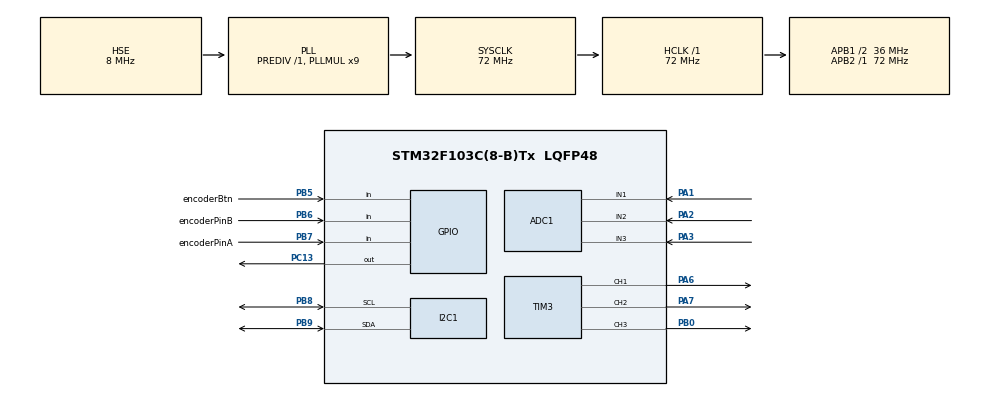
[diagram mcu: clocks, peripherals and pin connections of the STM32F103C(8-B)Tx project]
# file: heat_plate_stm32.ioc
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ADC1.Channel-0\#ChannelRegularConversion=ADC_CHANNEL_1
ADC1.ContinuousConvMode=ENABLE
ADC1.NbrOfConversion=1
ADC1.NbrOfConversionFlag=1
ADC1.Rank-0\#ChannelRegularConversion=1
ADC1.SamplingTime-0\#ChannelRegularConversion=ADC_SAMPLETIME_1CYCLE_5
ADC1.master=1
Mcu.Family=STM32F1
Mcu.Name=STM32F103C(8-B)Tx
Mcu.Package=LQFP48
NVIC.PriorityGroup=NVIC_PRIORITYGROUP_4
NVIC.TIM2_IRQn=true\:0\:0\:false\:false\:true\:true\:true\:true
PA1.Signal=ADCx_IN1
PA2.Signal=ADCx_IN2
PA3.Signal=ADCx_IN3
PA6.Signal=S_TIM3_CH1
PA7.Signal=S_TIM3_CH2
PB0.Signal=S_TIM3_CH3
PB5.GPIO_Label=encoderBtn
PB5.Signal=GPIO_Input
PB6.GPIO_Label=encoderPinB
PB6.Signal=GPIO_Input
PB7.GPIO_Label=encoderPinA
PB7.Signal=GPIO_Input
PB8.Mode=I2C
PB8.Signal=I2C1_SCL
PB9.Mode=I2C
PB9.Signal=I2C1_SDA
PC13-TAMPER-RTC.Signal=GPIO_Output
PD0-OSC_IN.Mode=HSE-External-Oscillator
PD0-OSC_IN.Signal=RCC_OSC_IN
PD1-OSC_OUT.Mode=HSE-External-Oscillator
PD1-OSC_OUT.Signal=RCC_OSC_OUT
ProjectManager.HeapSize=0x200
ProjectManager.StackSize=0x400
ProjectManager.TargetToolchain=STM32CubeIDE
RCC.ADCPresc=RCC_ADCPCLK2_DIV6
RCC.AHBFreq_Value=72000000
RCC.APB1CLKDivider=RCC_HCLK_DIV2
RCC.APB1Freq_Value=36000000
RCC.APB1TimFreq_Value=72000000
RCC.APB2Freq_Value=72000000
RCC.APB2TimFreq_Value=72000000
RCC.HCLKFreq_Value=72000000
RCC.PLLMUL=RCC_PLL_MUL9
RCC.PLLSourceVirtual=RCC_PLLSOURCE_HSE
RCC.SYSCLKFreq_VALUE=72000000
RCC.SYSCLKSource=RCC_SYSCLKSOURCE_PLLCLK
RCC.USBFreq_Value=72000000
SH.ADCx_IN1.0=ADC1_IN1,IN1
SH.ADCx_IN2.0=ADC1_IN2,IN2
SH.ADCx_IN3.0=ADC1_IN3,IN3
SH.S_TIM3_CH1.0=TIM3_CH1,PWM Generation1 CH1
SH.S_TIM3_CH2.0=TIM3_CH2,PWM Generation2 CH2
SH.S_TIM3_CH3.0=TIM3_CH3,PWM Generation3 CH3
TIM2.Period=3000
TIM2.Prescaler=24-1
TIM3.Channel-PWM\ Generation1\ CH1=TIM_CHANNEL_1
TIM3.Channel-PWM\ Generation2\ CH2=TIM_CHANNEL_2
TIM3.Channel-PWM\ Generation3\ CH3=TIM_CHANNEL_3
VP_SYS_VS_ND.Mode=No_Debug
VP_TIM2_VS_ClockSourceINT.Mode=Internal
board=custom

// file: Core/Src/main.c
/* USER CODE BEGIN Header */
/**
 ******************************************************************************
 * @file           : main.c
 * @brief          : Main program body
 ******************************************************************************
 * @attention
 *
 * Copyright (c) 2024 STMicroelectronics.
 * All rights reserved.
 *
 * This software is licensed under terms that can be found in the LICENSE file
 * in the root directory of this software component.
 * If no LICENSE file comes with this software, it is provided AS-IS.
 *
 ******************************************************************************
 */
/* USER CODE END Header */
#include "main.h"

/* USER CODE BEGIN Includes */
//#include "Button.h"
#include "meun.h"
#include "heater.h"
//#include "stm32f1xx_hal.h"
/* USER CODE END Includes */

/* USER CODE BEGIN PD */
uint16_t counter = 0;
void HAL_TIM_PeriodElapsedCallback(TIM_HandleTypeDef *htim);
/* USER CODE END PD */

ADC_HandleTypeDef hadc1;

I2C_HandleTypeDef hi2c1;

TIM_HandleTypeDef htim2;
TIM_HandleTypeDef htim3;

/* USER CODE BEGIN PV */
MEUN_TypeDef UserMeun;

/* USER CODE END PV */

void SystemClock_Config(void);
static void MX_GPIO_Init(void);
static void MX_ADC1_Init(void);
static void MX_I2C1_Init(void);
static void MX_TIM2_Init(void);
static void MX_TIM3_Init(void);

int main(void)
{

  /* MCU Configuration--------------------------------------------------------*/

  /* Reset of all peripherals, Initializes the Flash interface and the Systick. */
  HAL_Init();

  /* USER CODE BEGIN Init */
	HAL_TIM_Base_Start_IT(&htim2);
	heaterInit();
	meunInit(&UserMeun);
  /* USER CODE END Init */

  /* Configure the system clock */
  SystemClock_Config();

  /* Initialize all configured peripherals */
  MX_GPIO_Init();
  MX_ADC1_Init();
  MX_I2C1_Init();
  MX_TIM2_Init();
  MX_TIM3_Init();
  /* USER CODE BEGIN 2 */
	startScreeen();
//	PID(&TPID, &currentTemp, &PIDOut, &TempSetpoint, 2, 5, 1, _PID_P_ON_E, _PID_CD_DIRECT);
//	PID_SetMode(&TPID, _PID_MODE_AUTOMATIC);
//	PID_SetSampleTime(&TPID, 500);
//	PID_SetOutputLimits(&TPID, -100, 100);
  /* USER CODE END 2 */

  /* Infinite loop */
	while (1) {

    /* USER CODE BEGIN 3 */

		if (counter % 100 == 1) {
			displayMeunHandler(&UserMeun);
		}
		if (counter % 10 == 1) {
			if (UserMeun.meunIndex == 0) {
				UserMeun.meunUpdateState = 0;
				heating();
			}
//		(meunIndex)? heating() : return();
		}
	}

  /* USER CODE END 3 */
}

void SystemClock_Config(void)
{
  RCC_OscInitTypeDef RCC_OscInitStruct = {0};
  RCC_ClkInitTypeDef RCC_ClkInitStruct = {0};
  RCC_PeriphCLKInitTypeDef PeriphClkInit = {0};

  /** Initializes the RCC Oscillators according to the specified parameters
  * in the RCC_OscInitTypeDef structure.
  */
  RCC_OscInitStruct.OscillatorType = RCC_OSCILLATORTYPE_HSE;
  RCC_OscInitStruct.HSEState = RCC_HSE_ON;
  RCC_OscInitStruct.HSEPredivValue = RCC_HSE_PREDIV_DIV1;
  RCC_OscInitStruct.HSIState = RCC_HSI_ON;
  RCC_OscInitStruct.PLL.PLLState = RCC_PLL_ON;
  RCC_OscInitStruct.PLL.PLLSource = RCC_PLLSOURCE_HSE;
  RCC_OscInitStruct.PLL.PLLMUL = RCC_PLL_MUL9;
  if (HAL_RCC_OscConfig(&RCC_OscInitStruct) != HAL_OK)
  {
    Error_Handler();
  }

  /** Initializes the CPU, AHB and APB buses clocks
  */
  RCC_ClkInitStruct.ClockType = RCC_CLOCKTYPE_HCLK|RCC_CLOCKTYPE_SYSCLK
                              |RCC_CLOCKTYPE_PCLK1|RCC_CLOCKTYPE_PCLK2;
  RCC_ClkInitStruct.SYSCLKSource = RCC_SYSCLKSOURCE_PLLCLK;
  RCC_ClkInitStruct.AHBCLKDivider = RCC_SYSCLK_DIV1;
  RCC_ClkInitStruct.APB1CLKDivider = RCC_HCLK_DIV2;
  RCC_ClkInitStruct.APB2CLKDivider = RCC_HCLK_DIV1;

  if (HAL_RCC_ClockConfig(&RCC_ClkInitStruct, FLASH_LATENCY_2) != HAL_OK)
  {
    Error_Handler();
  }
  PeriphClkInit.PeriphClockSelection = RCC_PERIPHCLK_ADC;
  PeriphClkInit.AdcClockSelection = RCC_ADCPCLK2_DIV6;
  if (HAL_RCCEx_PeriphCLKConfig(&PeriphClkInit) != HAL_OK)
  {
    Error_Handler();
  }
}

static void MX_ADC1_Init(void)
{

  ADC_ChannelConfTypeDef sConfig = {0};

  /** Common config
  */
  hadc1.Instance = ADC1;
  hadc1.Init.ScanConvMode = ADC_SCAN_DISABLE;
  hadc1.Init.ContinuousConvMode = ENABLE;
  hadc1.Init.DiscontinuousConvMode = DISABLE;
  hadc1.Init.ExternalTrigConv = ADC_SOFTWARE_START;
  hadc1.Init.DataAlign = ADC_DATAALIGN_RIGHT;
  hadc1.Init.NbrOfConversion = 1;
  if (HAL_ADC_Init(&hadc1) != HAL_OK)
  {
    Error_Handler();
  }

  /** Configure Regular Channel
  */
  sConfig.Channel = ADC_CHANNEL_1;
  sConfig.Rank = ADC_REGULAR_RANK_1;
  sConfig.SamplingTime = ADC_SAMPLETIME_1CYCLE_5;
  if (HAL_ADC_ConfigChannel(&hadc1, &sConfig) != HAL_OK)
  {
    Error_Handler();
  }

}

static void MX_I2C1_Init(void)
{

  hi2c1.Instance = I2C1;
  hi2c1.Init.ClockSpeed = 100000;
  hi2c1.Init.DutyCycle = I2C_DUTYCYCLE_2;
  hi2c1.Init.OwnAddress1 = 0;
  hi2c1.Init.AddressingMode = I2C_ADDRESSINGMODE_7BIT;
  hi2c1.Init.DualAddressMode = I2C_DUALADDRESS_DISABLE;
  hi2c1.Init.OwnAddress2 = 0;
  hi2c1.Init.GeneralCallMode = I2C_GENERALCALL_DISABLE;
  hi2c1.Init.NoStretchMode = I2C_NOSTRETCH_DISABLE;
  if (HAL_I2C_Init(&hi2c1) != HAL_OK)
  {
    Error_Handler();
  }

}

static void MX_TIM2_Init(void)
{

  TIM_ClockConfigTypeDef sClockSourceConfig = {0};
  TIM_MasterConfigTypeDef sMasterConfig = {0};

  htim2.Instance = TIM2;
  htim2.Init.Prescaler = 24-1;
  htim2.Init.CounterMode = TIM_COUNTERMODE_UP;
  htim2.Init.Period = 3000;
  htim2.Init.ClockDivision = TIM_CLOCKDIVISION_DIV1;
  htim2.Init.AutoReloadPreload = TIM_AUTORELOAD_PRELOAD_DISABLE;
  if (HAL_TIM_Base_Init(&htim2) != HAL_OK)
  {
    Error_Handler();
  }
  sClockSourceConfig.ClockSource = TIM_CLOCKSOURCE_INTERNAL;
  if (HAL_TIM_ConfigClockSource(&htim2, &sClockSourceConfig) != HAL_OK)
  {
    Error_Handler();
  }
  sMasterConfig.MasterOutputTrigger = TIM_TRGO_RESET;
  sMasterConfig.MasterSlaveMode = TIM_MASTERSLAVEMODE_DISABLE;
  if (HAL_TIMEx_MasterConfigSynchronization(&htim2, &sMasterConfig) != HAL_OK)
  {
    Error_Handler();
  }

}

static void MX_TIM3_Init(void)
{

  TIM_MasterConfigTypeDef sMasterConfig = {0};
  TIM_OC_InitTypeDef sConfigOC = {0};

  htim3.Instance = TIM3;
  htim3.Init.Prescaler = 0;
  htim3.Init.CounterMode = TIM_COUNTERMODE_UP;
  htim3.Init.Period = 65535;
  htim3.Init.ClockDivision = TIM_CLOCKDIVISION_DIV1;
  htim3.Init.AutoReloadPreload = TIM_AUTORELOAD_PRELOAD_DISABLE;
  if (HAL_TIM_PWM_Init(&htim3) != HAL_OK)
  {
    Error_Handler();
  }
  sMasterConfig.MasterOutputTrigger = TIM_TRGO_RESET;
  sMasterConfig.MasterSlaveMode = TIM_MASTERSLAVEMODE_DISABLE;
  if (HAL_TIMEx_MasterConfigSynchronization(&htim3, &sMasterConfig) != HAL_OK)
  {
    Error_Handler();
  }
  sConfigOC.OCMode = TIM_OCMODE_PWM1;
  sConfigOC.Pulse = 0;
  sConfigOC.OCPolarity = TIM_OCPOLARITY_HIGH;
  sConfigOC.OCFastMode = TIM_OCFAST_DISABLE;
  if (HAL_TIM_PWM_ConfigChannel(&htim3, &sConfigOC, TIM_CHANNEL_1) != HAL_OK)
  {
    Error_Handler();
  }
  if (HAL_TIM_PWM_ConfigChannel(&htim3, &sConfigOC, TIM_CHANNEL_2) != HAL_OK)
  {
    Error_Handler();
  }
  if (HAL_TIM_PWM_ConfigChannel(&htim3, &sConfigOC, TIM_CHANNEL_3) != HAL_OK)
  {
    Error_Handler();
  }
  HAL_TIM_MspPostInit(&htim3);

}

static void MX_GPIO_Init(void)
{
  GPIO_InitTypeDef GPIO_InitStruct = {0};

  /* GPIO Ports Clock Enable */
  __HAL_RCC_GPIOC_CLK_ENABLE();
  __HAL_RCC_GPIOD_CLK_ENABLE();
  __HAL_RCC_GPIOA_CLK_ENABLE();
  __HAL_RCC_GPIOB_CLK_ENABLE();

  /*Configure GPIO pin Output Level */
  HAL_GPIO_WritePin(GPIOC, GPIO_PIN_13, GPIO_PIN_RESET);

  /*Configure GPIO pin : PC13 */
  GPIO_InitStruct.Pin = GPIO_PIN_13;
  GPIO_InitStruct.Mode = GPIO_MODE_OUTPUT_PP;
  GPIO_InitStruct.Pull = GPIO_NOPULL;
  GPIO_InitStruct.Speed = GPIO_SPEED_FREQ_LOW;
  HAL_GPIO_Init(GPIOC, &GPIO_InitStruct);

  /*Configure GPIO pins : encoderBtn_Pin encoderPinB_Pin encoderPinA_Pin */
  GPIO_InitStruct.Pin = encoderBtn_Pin|encoderPinB_Pin|encoderPinA_Pin;
  GPIO_InitStruct.Mode = GPIO_MODE_INPUT;
  GPIO_InitStruct.Pull = GPIO_NOPULL;
  HAL_GPIO_Init(GPIOB, &GPIO_InitStruct);

}

/* USER CODE BEGIN 4 */

void HAL_TIM_PeriodElapsedCallback(TIM_HandleTypeDef *htim) {
	if (htim->Instance == htim2.Instance) {
		counter = counter > 400 ? 0 : counter + 1;  //1 count is 10ms
		if (counter == 0) {
			HAL_GPIO_TogglePin(GPIOC, GPIO_PIN_13);
		}
	}

}
/* USER CODE END 4 */

void Error_Handler(void)
{
	__disable_irq();
	while (1) {
	}
}
